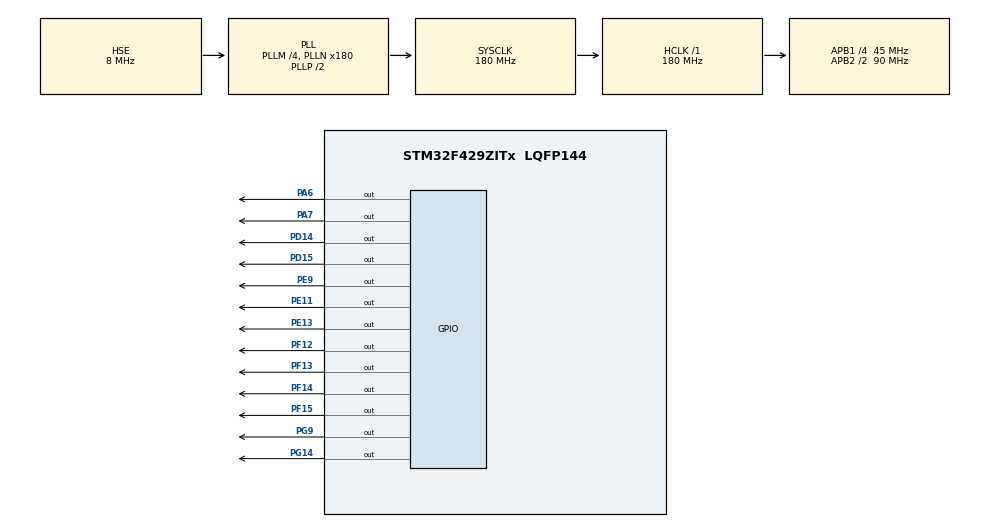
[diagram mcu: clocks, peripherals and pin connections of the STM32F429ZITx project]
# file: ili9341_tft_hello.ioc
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Mcu.Family=STM32F4
Mcu.Name=STM32F429ZITx
Mcu.Package=LQFP144
NVIC.PriorityGroup=NVIC_PRIORITYGROUP_4
PA13.Mode=Serial_Wire
PA13.Signal=SYS_JTMS-SWDIO
PA14.Mode=Serial_Wire
PA14.Signal=SYS_JTCK-SWCLK
PA6.Signal=GPIO_Output
PA7.Signal=GPIO_Output
PD14.Signal=GPIO_Output
PD15.Signal=GPIO_Output
PE11.Signal=GPIO_Output
PE13.Signal=GPIO_Output
PE9.Signal=GPIO_Output
PF12.Signal=GPIO_Output
PF13.Signal=GPIO_Output
PF14.Signal=GPIO_Output
PF15.Signal=GPIO_Output
PG14.Signal=GPIO_Output
PG9.Signal=GPIO_Output
PH0/OSC_IN.Mode=HSE-External-Oscillator
PH0/OSC_IN.Signal=RCC_OSC_IN
PH1/OSC_OUT.Mode=HSE-External-Oscillator
PH1/OSC_OUT.Signal=RCC_OSC_OUT
ProjectManager.HeapSize=0x200
ProjectManager.StackSize=0x400
ProjectManager.TargetToolchain=STM32CubeIDE
RCC.48MHZClocksFreq_Value=90000000
RCC.AHBFreq_Value=180000000
RCC.APB1CLKDivider=RCC_HCLK_DIV4
RCC.APB1Freq_Value=45000000
RCC.APB1TimFreq_Value=90000000
RCC.APB2CLKDivider=RCC_HCLK_DIV2
RCC.APB2Freq_Value=90000000
RCC.APB2TimFreq_Value=180000000
RCC.CortexFreq_Value=180000000
RCC.HCLKFreq_Value=180000000
RCC.HSE_VALUE=8000000
RCC.HSI_VALUE=16000000
RCC.LSE_VALUE=32768
RCC.PLLM=4
RCC.PLLN=180
RCC.PLLSourceVirtual=RCC_PLLSOURCE_HSE
RCC.SYSCLKFreq_VALUE=180000000
RCC.SYSCLKSource=RCC_SYSCLKSOURCE_PLLCLK
RCC.VCOOutputFreq_Value=360000000
TIM1.Prescaler=179
VP_TIM1_VS_ClockSourceINT.Mode=Internal
board=custom

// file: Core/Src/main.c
/* USER CODE BEGIN Header */
/**
  ******************************************************************************
  * @file           : main.c
  * @brief          : Main program body
  ******************************************************************************
  * @attention
  *
  * Copyright (c) 2022 STMicroelectronics.
  * All rights reserved.
  *
  * This software is licensed under terms that can be found in the LICENSE file
  * in the root directory of this software component.
  * If no LICENSE file comes with this software, it is provided AS-IS.
  *
  ******************************************************************************
  */
/* USER CODE END Header */
#include "main.h"
#include "tim.h"
#include "gpio.h"

/* USER CODE BEGIN Includes */
#include "fonts.h"
#include "tft.h"
#include "user_setting.h"
#include "functions.h"

/* USER CODE END Includes */

void SystemClock_Config(void);

/* USER CODE BEGIN 0 */

uint16_t ID = 0;

/* USER CODE END 0 */

int main(void)
{

  /* MCU Configuration--------------------------------------------------------*/

  /* Reset of all peripherals, Initializes the Flash interface and the Systick. */
  HAL_Init();

  /* Configure the system clock */
  SystemClock_Config();

  /* Initialize all configured peripherals */
  MX_GPIO_Init();
  MX_TIM1_Init();
  /* USER CODE BEGIN 2 */

  HAL_TIM_Base_Start(&htim1);

  ID = readID();

  HAL_Delay(100);

  tft_init(ID);

  setRotation(0);

  fillScreen(BLACK);

  testFillScreen();
  testLines(CYAN);
  testFastLines(RED, BLUE);
  testFilledCircles(10, BLUE);
  testCircles(1, WHITE);

  fillScreen(BLACK);

  setRotation(0);

  /* USER CODE END 2 */

  /* Infinite loop */
  while (1)
  {

  }
}

void SystemClock_Config(void)
{
  RCC_OscInitTypeDef RCC_OscInitStruct = {0};
  RCC_ClkInitTypeDef RCC_ClkInitStruct = {0};

  /** Configure the main internal regulator output voltage
  */
  __HAL_RCC_PWR_CLK_ENABLE();
  __HAL_PWR_VOLTAGESCALING_CONFIG(PWR_REGULATOR_VOLTAGE_SCALE1);

  /** Initializes the RCC Oscillators according to the specified parameters
  * in the RCC_OscInitTypeDef structure.
  */
  RCC_OscInitStruct.OscillatorType = RCC_OSCILLATORTYPE_HSE;
  RCC_OscInitStruct.HSEState = RCC_HSE_ON;
  RCC_OscInitStruct.PLL.PLLState = RCC_PLL_ON;
  RCC_OscInitStruct.PLL.PLLSource = RCC_PLLSOURCE_HSE;
  RCC_OscInitStruct.PLL.PLLM = 4;
  RCC_OscInitStruct.PLL.PLLN = 180;
  RCC_OscInitStruct.PLL.PLLP = RCC_PLLP_DIV2;
  RCC_OscInitStruct.PLL.PLLQ = 4;
  if (HAL_RCC_OscConfig(&RCC_OscInitStruct) != HAL_OK)
  {
    Error_Handler();
  }

  /** Activate the Over-Drive mode
  */
  if (HAL_PWREx_EnableOverDrive() != HAL_OK)
  {
    Error_Handler();
  }

  /** Initializes the CPU, AHB and APB buses clocks
  */
  RCC_ClkInitStruct.ClockType = RCC_CLOCKTYPE_HCLK|RCC_CLOCKTYPE_SYSCLK
                              |RCC_CLOCKTYPE_PCLK1|RCC_CLOCKTYPE_PCLK2;
  RCC_ClkInitStruct.SYSCLKSource = RCC_SYSCLKSOURCE_PLLCLK;
  RCC_ClkInitStruct.AHBCLKDivider = RCC_SYSCLK_DIV1;
  RCC_ClkInitStruct.APB1CLKDivider = RCC_HCLK_DIV4;
  RCC_ClkInitStruct.APB2CLKDivider = RCC_HCLK_DIV2;

  if (HAL_RCC_ClockConfig(&RCC_ClkInitStruct, FLASH_LATENCY_5) != HAL_OK)
  {
    Error_Handler();
  }
}

void Error_Handler(void)
{
  __disable_irq();
  while (1)
  {
  }
}
